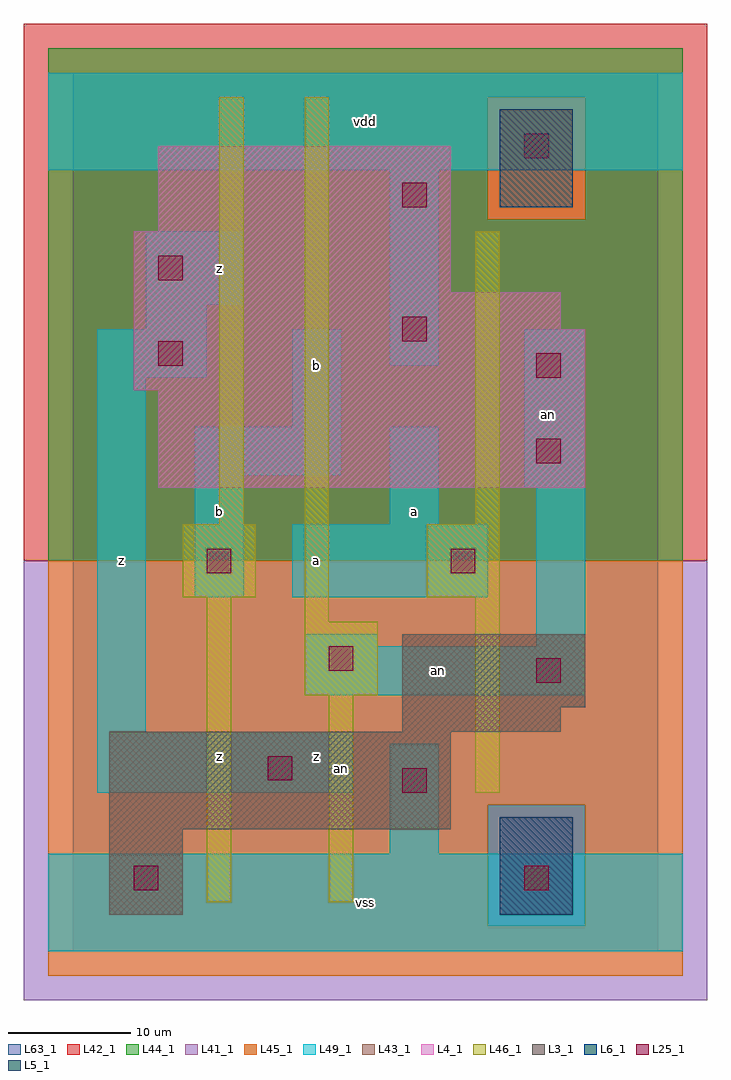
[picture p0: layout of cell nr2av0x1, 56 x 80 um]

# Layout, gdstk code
import gdstk
lib = gdstk.Library(unit=1e-6, precision=1e-09)
def R(c, l, rs):  # rectangles x0, y0, x1, y1
    for r in rs: c.add(gdstk.rectangle(r[:2], r[2:], *l))
L3_1 = (3, 1)
L4_1 = (4, 1)
L5_1 = (5, 1)
L6_1 = (6, 1)
L25_1 = (25, 1)
L41_1 = (41, 1)
L42_1 = (42, 1)
L43_1 = (43, 1)
L44_1 = (44, 1)
L45_1 = (45, 1)
L46_1 = (46, 1)
L49_1 = (49, 1)
L63_1 = (63, 1)

nr2av0x1 = lib.new_cell('nr2av0x1')
R(nr2av0x1, L3_1, [(3,3,9,10), (3,10,31,18), (27,18,40,20), (27,20,42,26)])
R(nr2av0x1, L4_1, [(7,38,42,46), (5,46,42,51), (5,51,40,54), (5,54,31,59), (7,59,31,66)])
R(nr2av0x1, L5_1, [(35,61,41,69)])
R(nr2av0x1, L6_1, [(35,3,41,11), (35,3,41,11)])
R(nr2av0x1, L25_1, [(5,5,7,7), (37,5,39,7), (27,13,29,15), (16,14,18,16), (38,22,40,24), (21,23,23,25), (11,31,13,33), (31,31,33,33), (38,40,40,42), (38,47,40,49), (7,48,9,50), (27,50,29,52), (7,55,9,57), (27,61,29,63), (37,65,39,67)])
R(nr2av0x1, L41_1, [(-4,-4,52,32)])
R(nr2av0x1, L42_1, [(-4,32,52,76)])
R(nr2av0x1, L43_1, [(3,3,9,10), (35,3,41,11), (3,10,31,18), (27,18,40,20), (27,20,42,26), (7,38,42,46), (5,46,42,51), (5,51,40,54), (5,54,31,59), (7,59,31,66), (35,61,41,69)])
R(nr2av0x1, L44_1, [(34,2,42,12), (-2,32,50,60), (-2,60,34,70), (42,60,50,70), (-2,70,50,74)])
R(nr2av0x1, L45_1, [(-2,-2,50,2), (-2,2,34,12), (42,2,50,12), (-2,12,50,32), (34,60,42,70)])
R(nr2av0x1, L46_1, [(11,4,13,29), (21,4,23,21), (33,13,35,29), (19,21,25,27), (19,27,21,70), (9,29,15,35), (29,29,35,35), (12,35,14,70), (33,35,35,59)])
R(nr2av0x1, L49_1, [(-2,0,50,8), (26,8,30,17), (2,13,23,18), (2,18,6,47), (19,21,42,25), (19,25,25,26), (38,25,42,38), (10,29,14,39), (18,29,34,35), (26,35,30,43), (37,38,42,51), (10,39,22,43), (18,43,22,51), (2,47,11,51), (26,48,30,64), (6,51,11,53), (6,53,14,59), (-2,64,50,72)])
R(nr2av0x1, L63_1, [(0,0,48,72)])
nr2av0x1.add(gdstk.Label('an', (22,15), layer=46, texttype=1))
nr2av0x1.add(gdstk.Label('z', (4,32), layer=49, texttype=1))
nr2av0x1.add(gdstk.Label('z', (20,16), layer=49, texttype=1))
nr2av0x1.add(gdstk.Label('z', (12,16), layer=49, texttype=1))
nr2av0x1.add(gdstk.Label('a', (20,32), layer=49, texttype=1))
nr2av0x1.add(gdstk.Label('b', (12,36), layer=49, texttype=1))
nr2av0x1.add(gdstk.Label('b', (20,48), layer=49, texttype=1))
nr2av0x1.add(gdstk.Label('z', (12,56), layer=49, texttype=1))
nr2av0x1.add(gdstk.Label('vss', (24,4), layer=49, texttype=1))
nr2av0x1.add(gdstk.Label('a', (28,36), layer=49, texttype=1))
nr2av0x1.add(gdstk.Label('vdd', (24,68), layer=49, texttype=1))
nr2av0x1.add(gdstk.Label('an', (30,23), layer=49, texttype=1))
nr2av0x1.add(gdstk.Label('an', (39,44), layer=49, texttype=1))

lib.write_gds('nr2av0x1.gds')
